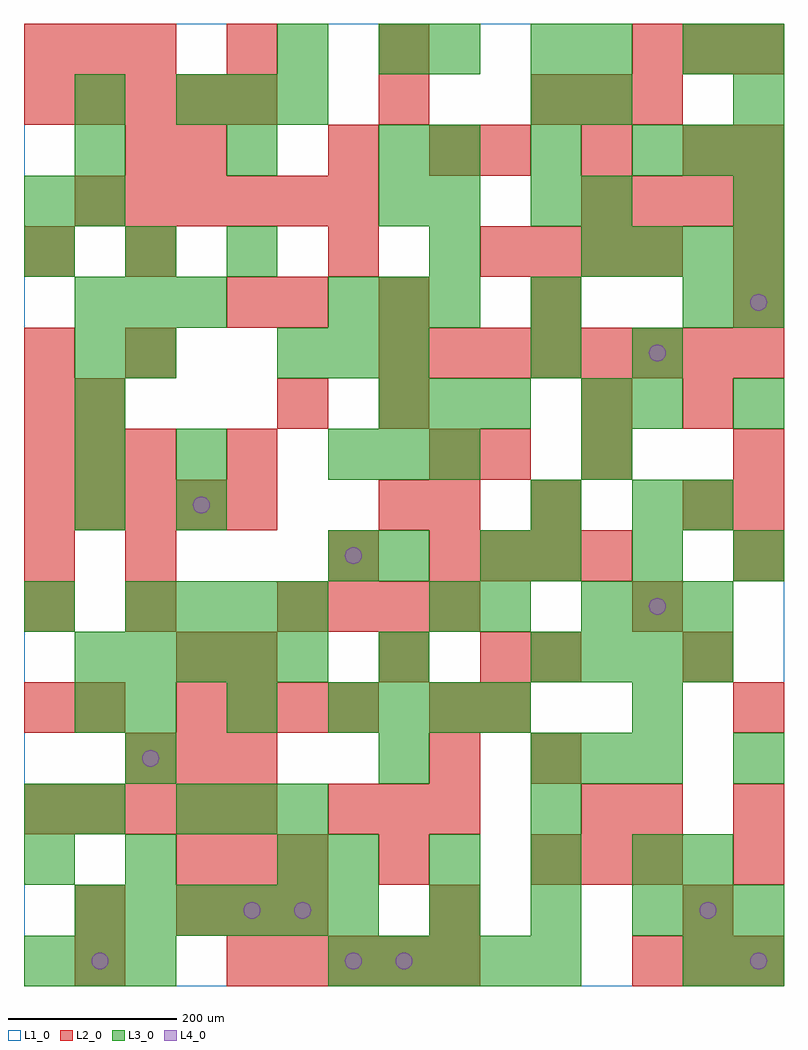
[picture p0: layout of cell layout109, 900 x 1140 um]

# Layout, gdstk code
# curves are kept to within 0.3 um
import gdstk
lib = gdstk.Library(unit=1e-6, precision=1e-09)
def R(c, l, rs):  # rectangles x0, y0, x1, y1
    for r in rs: c.add(gdstk.rectangle(r[:2], r[2:], *l))
def A(c, l, x, y, w, h, nx, ny, dx, dy):  # array of equal rectangles
    R(c, l, [(x+i*dx, y+j*dy, x+i*dx+w, y+j*dy+h) for i in range(nx) for j in range(ny)])
def P(c, l, *ps):  # polygons
    for p in ps: c.add(gdstk.Polygon(p, *l))
L1_0 = (1, 0)
L2_0 = (2, 0)
L3_0 = (3, 0)
L4_0 = (4, 0)

layout109 = lib.new_cell('layout109')
R(layout109, L1_0, [(0,0,900,1140)])
A(layout109, L2_0, 240, 0, 60, 60, 5, 1, 60, 0)
A(layout109, L2_0, 720, 0, 60, 60, 3, 2, 60, 1080)
A(layout109, L2_0, 180, 60, 60, 60, 3, 2, 60, 60)
A(layout109, L2_0, 600, 120, 60, 60, 3, 2, 60, 900)
A(layout109, L2_0, 0, 180, 60, 60, 5, 2, 60, 360)
A(layout109, L2_0, 360, 180, 60, 60, 3, 1, 60, 0)
A(layout109, L2_0, 120, 240, 60, 60, 3, 1, 60, 0)
A(layout109, L2_0, 180, 300, 60, 60, 4, 1, 60, 0)
A(layout109, L2_0, 300, 420, 60, 60, 4, 1, 60, 0)
A(layout109, L2_0, 480, 480, 60, 60, 4, 1, 60, 0)
A(layout109, L2_0, 840, 480, 60, 60, 1, 3, 0, 60)
A(layout109, L2_0, 420, 540, 60, 60, 1, 3, 0, 120)
A(layout109, L2_0, 0, 600, 60, 60, 3, 2, 60, 480)
A(layout109, L2_0, 120, 720, 60, 60, 1, 3, 0, 120)
A(layout109, L2_0, 420, 720, 60, 60, 8, 1, 60, 0)
A(layout109, L2_0, 540, 840, 60, 60, 4, 1, 60, 0)
A(layout109, L2_0, 60, 900, 60, 60, 6, 1, 60, 0)
A(layout109, L2_0, 660, 900, 60, 60, 4, 1, 60, 0)
A(layout109, L2_0, 540, 960, 60, 60, 3, 1, 120, 0)
A(layout109, L2_0, 0, 1020, 60, 60, 5, 1, 60, 0)
R(layout109, L2_0, [(60,0,120,60), (60,60,120,120), (480,60,540,120), (780,60,840,120), (420,120,480,180), (840,120,900,180), (660,180,720,240), (720,180,780,240), (840,180,900,240), (480,240,540,300), (600,240,660,300), (0,300,60,360), (60,300,120,360), (480,300,540,360), (540,300,600,360), (840,300,900,360), (180,360,240,420), (240,360,300,420), (420,360,480,420), (540,360,600,420), (600,360,660,420), (780,360,840,420), (0,420,60,480), (120,420,180,480), (720,420,780,480), (0,480,60,540), (120,480,180,540), (360,480,420,540), (480,540,540,600), (600,540,660,600), (780,540,840,600), (240,600,300,660), (480,600,540,660), (540,600,600,660), (660,600,720,660), (0,660,60,720), (60,660,120,720), (300,660,360,720), (660,660,720,720), (780,660,840,720), (0,720,60,780), (240,780,300,840), (300,780,360,840), (600,780,660,840), (840,780,900,840), (0,840,60,900), (360,840,420,900), (840,840,900,900), (180,960,240,1020), (360,960,420,1020), (480,960,540,1020), (840,960,900,1020), (420,1020,480,1080), (240,1080,300,1140), (420,1080,480,1140)])
A(layout109, L3_0, 0, 0, 60, 60, 3, 1, 60, 0)
A(layout109, L3_0, 360, 0, 60, 60, 5, 1, 60, 0)
A(layout109, L3_0, 780, 0, 60, 60, 1, 3, 0, 60)
A(layout109, L3_0, 60, 60, 60, 60, 6, 1, 60, 0)
A(layout109, L3_0, 480, 60, 60, 60, 3, 2, 120, 900)
A(layout109, L3_0, 360, 120, 60, 60, 4, 1, 120, 0)
A(layout109, L3_0, 180, 180, 60, 60, 3, 2, 60, 840)
A(layout109, L3_0, 420, 240, 60, 60, 1, 3, 0, 120)
A(layout109, L3_0, 600, 240, 60, 60, 3, 1, 60, 0)
A(layout109, L3_0, 120, 300, 60, 60, 3, 1, 120, 0)
A(layout109, L3_0, 420, 300, 60, 60, 3, 2, 60, 360)
A(layout109, L3_0, 60, 360, 60, 60, 5, 1, 60, 0)
A(layout109, L3_0, 600, 360, 60, 60, 4, 1, 60, 0)
A(layout109, L3_0, 120, 420, 60, 60, 4, 1, 60, 0)
A(layout109, L3_0, 660, 420, 60, 60, 3, 1, 60, 0)
A(layout109, L3_0, 600, 480, 60, 60, 3, 1, 120, 0)
A(layout109, L3_0, 60, 540, 60, 60, 1, 4, 0, 60)
A(layout109, L3_0, 360, 600, 60, 60, 3, 2, 60, 180)
A(layout109, L3_0, 840, 660, 60, 60, 1, 3, 0, 120)
A(layout109, L3_0, 300, 720, 60, 60, 3, 1, 60, 0)
A(layout109, L3_0, 60, 780, 60, 60, 3, 1, 60, 0)
A(layout109, L3_0, 600, 780, 60, 60, 1, 3, 0, 120)
A(layout109, L3_0, 0, 840, 60, 60, 3, 1, 120, 0)
A(layout109, L3_0, 660, 840, 60, 60, 4, 1, 60, 0)
A(layout109, L3_0, 60, 960, 60, 60, 3, 1, 180, 0)
A(layout109, L3_0, 840, 960, 60, 60, 1, 3, 0, 60)
R(layout109, L3_0, [(840,0,900,60), (840,60,900,120), (0,120,60,180), (120,120,180,180), (300,120,360,180), (0,180,60,240), (60,180,120,240), (600,180,660,240), (120,240,180,300), (840,240,900,300), (60,300,120,360), (720,300,780,360), (0,420,60,480), (480,420,540,480), (540,420,600,480), (360,480,420,540), (540,480,600,540), (180,540,240,600), (600,540,660,600), (720,540,780,600), (780,540,840,600), (180,600,240,660), (660,600,720,660), (660,660,720,720), (720,660,780,720), (120,720,180,780), (600,720,660,780), (720,720,780,780), (780,780,840,840), (480,840,540,900), (0,900,60,960), (60,900,120,960), (420,900,480,960), (480,900,540,960), (660,900,720,960), (780,960,840,1020), (60,1020,120,1080), (660,1020,720,1080), (300,1080,360,1140), (420,1080,480,1140), (480,1080,540,1140), (600,1080,660,1140), (660,1080,720,1140), (780,1080,840,1140)])
P(layout109, L4_0, [(100,30),(99.239,33.827),(97.071,37.071),(93.827,39.239),(90,40),(86.173,39.239),(82.929,37.071),(80.761,33.827),(80,30),(80.761,26.173),(82.929,22.929),(86.173,20.761),(90,20),(93.827,20.761),(97.071,22.929),(99.239,26.173)],
  [(160,270),(159.239,273.827),(157.071,277.071),(153.827,279.239),(150,280),(146.173,279.239),(142.929,277.071),(140.761,273.827),(140,270),(140.761,266.173),(142.929,262.929),(146.173,260.761),(150,260),(153.827,260.761),(157.071,262.929),(159.239,266.173)],
  [(220,570),(219.239,573.827),(217.071,577.071),(213.827,579.239),(210,580),(206.173,579.239),(202.929,577.071),(200.761,573.827),(200,570),(200.761,566.173),(202.929,562.929),(206.173,560.761),(210,560),(213.827,560.761),(217.071,562.929),(219.239,566.173)],
  [(280,90),(279.239,93.827),(277.071,97.071),(273.827,99.239),(270,100),(266.173,99.239),(262.929,97.071),(260.761,93.827),(260,90),(260.761,86.173),(262.929,82.929),(266.173,80.761),(270,80),(273.827,80.761),(277.071,82.929),(279.239,86.173)],
  [(340,90),(339.239,93.827),(337.071,97.071),(333.827,99.239),(330,100),(326.173,99.239),(322.929,97.071),(320.761,93.827),(320,90),(320.761,86.173),(322.929,82.929),(326.173,80.761),(330,80),(333.827,80.761),(337.071,82.929),(339.239,86.173)],
  [(400,30),(399.239,33.827),(397.071,37.071),(393.827,39.239),(390,40),(386.173,39.239),(382.929,37.071),(380.761,33.827),(380,30),(380.761,26.173),(382.929,22.929),(386.173,20.761),(390,20),(393.827,20.761),(397.071,22.929),(399.239,26.173)],
  [(400,510),(399.239,513.827),(397.071,517.071),(393.827,519.239),(390,520),(386.173,519.239),(382.929,517.071),(380.761,513.827),(380,510),(380.761,506.173),(382.929,502.929),(386.173,500.761),(390,500),(393.827,500.761),(397.071,502.929),(399.239,506.173)],
  [(460,30),(459.239,33.827),(457.071,37.071),(453.827,39.239),(450,40),(446.173,39.239),(442.929,37.071),(440.761,33.827),(440,30),(440.761,26.173),(442.929,22.929),(446.173,20.761),(450,20),(453.827,20.761),(457.071,22.929),(459.239,26.173)],
  [(760,450),(759.239,453.827),(757.071,457.071),(753.827,459.239),(750,460),(746.173,459.239),(742.929,457.071),(740.761,453.827),(740,450),(740.761,446.173),(742.929,442.929),(746.173,440.761),(750,440),(753.827,440.761),(757.071,442.929),(759.239,446.173)],
  [(760,750),(759.239,753.827),(757.071,757.071),(753.827,759.239),(750,760),(746.173,759.239),(742.929,757.071),(740.761,753.827),(740,750),(740.761,746.173),(742.929,742.929),(746.173,740.761),(750,740),(753.827,740.761),(757.071,742.929),(759.239,746.173)],
  [(820,90),(819.239,93.827),(817.071,97.071),(813.827,99.239),(810,100),(806.173,99.239),(802.929,97.071),(800.761,93.827),(800,90),(800.761,86.173),(802.929,82.929),(806.173,80.761),(810,80),(813.827,80.761),(817.071,82.929),(819.239,86.173)],
  [(880,30),(879.239,33.827),(877.071,37.071),(873.827,39.239),(870,40),(866.173,39.239),(862.929,37.071),(860.761,33.827),(860,30),(860.761,26.173),(862.929,22.929),(866.173,20.761),(870,20),(873.827,20.761),(877.071,22.929),(879.239,26.173)],
  [(880,810),(879.239,813.827),(877.071,817.071),(873.827,819.239),(870,820),(866.173,819.239),(862.929,817.071),(860.761,813.827),(860,810),(860.761,806.173),(862.929,802.929),(866.173,800.761),(870,800),(873.827,800.761),(877.071,802.929),(879.239,806.173)])

lib.write_gds('layout109.gds')
